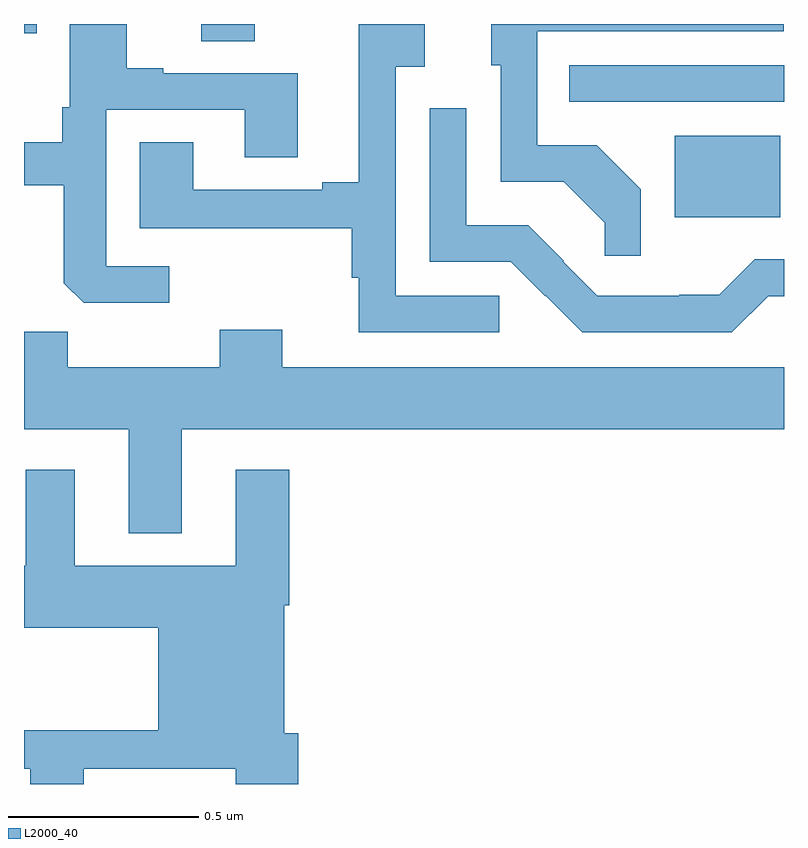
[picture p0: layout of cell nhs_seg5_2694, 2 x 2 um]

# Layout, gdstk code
import gdstk
lib = gdstk.Library(unit=1e-6, precision=1e-09)
def R(c, l, rs):  # rectangles x0, y0, x1, y1
    for r in rs: c.add(gdstk.rectangle(r[:2], r[2:], *l))
def P(c, l, *ps):  # polygons
    for p in ps: c.add(gdstk.Polygon(p, *l))
L2000_40 = (2000, 40)

nhs_seg5_2694 = lib.new_cell('nhs_seg5_2694')
R(nhs_seg5_2694, L2000_40, [(148.712,885.29,148.99,885.505), (148.435,885.594,149,885.69), (147.467,885.754,147.607,885.799), (147,885.775,147.034,885.799)])
P(nhs_seg5_2694, L2000_40, [(147.382,885.162),(147.216,885.162),(147.216,885.573),(147.581,885.573),(147.581,885.448),(147.721,885.448),(147.721,885.669),(147.367,885.669),(147.367,885.682),(147.271,885.682),(147.271,885.799),(147.12,885.799),(147.12,885.58),(147.1,885.58),(147.1,885.488),(147,885.488),(147,885.375),(147.105,885.375),(147.105,885.117),(147.157,885.066),(147.382,885.066)],
  [(148.251,885.084),(147.978,885.084),(147.978,885.686),(148.054,885.686),(148.054,885.799),(147.881,885.799),(147.881,885.383),(147.785,885.383),(147.785,885.363),(147.445,885.363),(147.445,885.488),(147.305,885.488),(147.305,885.262),(147.862,885.262),(147.862,885.131),(147.881,885.131),(147.881,884.988),(148.251,884.988)],
  [(148.623,885.364),(148.507,885.48),(148.35,885.48),(148.35,885.78),(148.999,885.78),(148.999,885.799),(148.229,885.799),(148.229,885.69),(148.254,885.69),(148.254,885.384),(148.42,885.384),(148.528,885.276),(148.528,885.189),(148.623,885.189)],
  [(148.958,885.083),(149,885.083),(149,885.18),(148.923,885.18),(148.829,885.086),(148.724,885.086),(148.724,885.084),(148.509,885.084),(148.419,885.174),(148.421,885.176),(148.327,885.27),(148.164,885.27),(148.164,885.577),(148.068,885.577),(148.068,885.174),(148.281,885.174),(148.372,885.083),(148.373,885.084),(148.469,884.988),(148.863,884.988)],
  [(147.415,884.732),(149,884.732),(149,884.896),(147.679,884.896),(147.679,884.995),(147.515,884.995),(147.515,884.896),(147.115,884.896),(147.115,884.989),(147,884.989),(147,884.732),(147.275,884.732),(147.275,884.459),(147.415,884.459)],
  [(147.157,883.839),(147.557,883.839),(147.557,883.799),(147.722,883.799),(147.722,883.932),(147.685,883.932),(147.685,884.27),(147.698,884.27),(147.698,884.626),(147.557,884.626),(147.557,884.374),(147.133,884.374),(147.133,884.626),(147.005,884.626),(147.005,884.374),(147,884.374),(147,884.21),(147.353,884.21),(147.353,883.94),(147,883.94),(147,883.839),(147.017,883.839),(147.017,883.799),(147.157,883.799)])

lib.write_gds('nhs_seg5_2694.gds')
